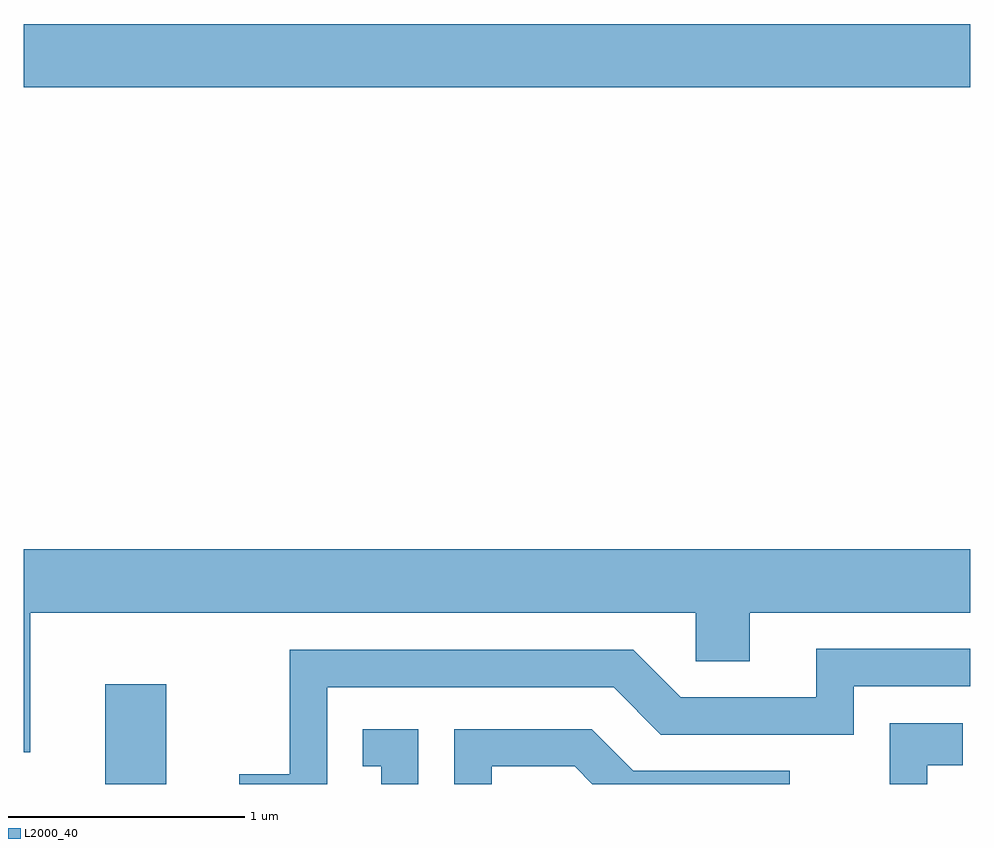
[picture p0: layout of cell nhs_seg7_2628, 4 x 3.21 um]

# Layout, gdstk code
import gdstk
lib = gdstk.Library(unit=1e-6, precision=1e-09)
def R(c, l, rs):  # rectangles x0, y0, x1, y1
    for r in rs: c.add(gdstk.rectangle(r[:2], r[2:], *l))
def P(c, l, *ps):  # polygons
    for p in ps: c.add(gdstk.Polygon(p, *l))
L2000_40 = (2000, 40)

nhs_seg7_2628 = lib.new_cell('nhs_seg7_2628')
R(nhs_seg7_2628, L2000_40, [(265.956,1720.252,266.214,1720.674), (265.611,1723.196,269.611,1723.464)])
P(nhs_seg7_2628, L2000_40, [(265.639,1720.976),(268.451,1720.976),(268.451,1720.771),(268.679,1720.771),(268.679,1720.976),(269.611,1720.976),(269.611,1721.244),(265.611,1721.244),(265.611,1720.386),(265.639,1720.386)],
  [(266.894,1720.661),(268.104,1720.661),(268.304,1720.461),(269.119,1720.461),(269.119,1720.666),(269.611,1720.666),(269.611,1720.824),(268.961,1720.824),(268.961,1720.619),(268.387,1720.619),(268.187,1720.819),(266.736,1720.819),(266.736,1720.294),(266.521,1720.294),(266.521,1720.252),(266.894,1720.252)],
  [(269.429,1720.331),(269.579,1720.331),(269.579,1720.509),(269.271,1720.509),(269.271,1720.252),(269.429,1720.252)],
  [(267.279,1720.484),(267.043,1720.484),(267.043,1720.326),(267.121,1720.326),(267.121,1720.252),(267.279,1720.252)],
  [(267.589,1720.326),(267.939,1720.326),(268.013,1720.252),(268.849,1720.252),(268.849,1720.309),(268.187,1720.309),(268.012,1720.484),(267.431,1720.484),(267.431,1720.252),(267.589,1720.252)])

lib.write_gds('nhs_seg7_2628.gds')
